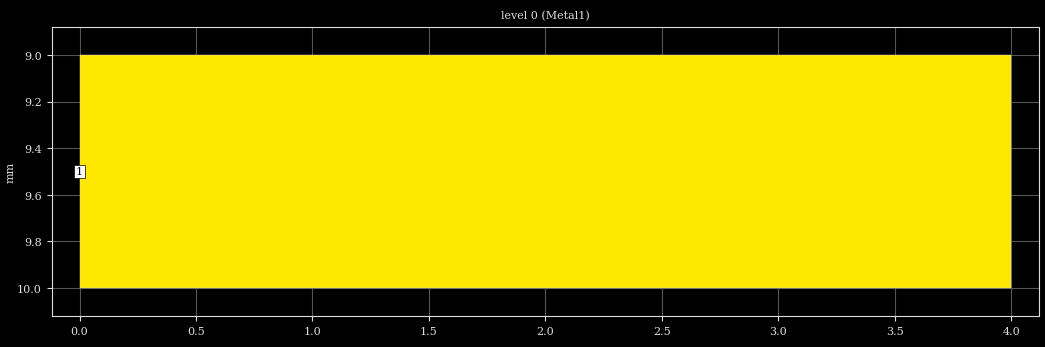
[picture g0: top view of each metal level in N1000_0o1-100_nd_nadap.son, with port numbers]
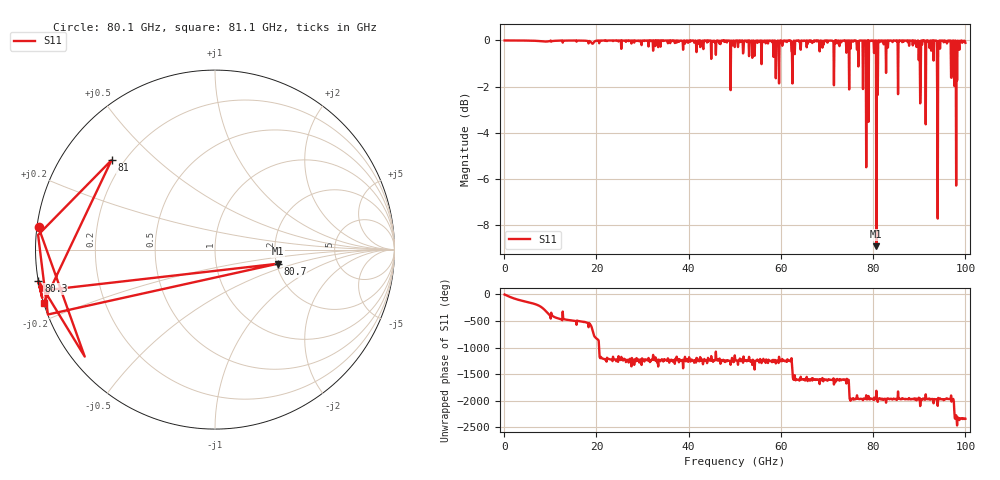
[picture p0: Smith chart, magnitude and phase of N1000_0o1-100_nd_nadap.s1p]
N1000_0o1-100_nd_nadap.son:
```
FTYP SONPROJ 19 ! Sonnet Project File
VER 18.56
HEADER
LIC sonnet10.72.52417
DAT 03/04/2023 10:23:07
BUILT_BY_CREATED xgeom 18.56 02/17/2023 13:10:04
BUILT_BY_SAVED sonnet 18.56
MDATE 03/04/2023 10:23:07
HDATE 03/04/2023 10:23:07
END HEADER
DIM
ANG DEG
CAP PF
CON /OH
FREQ GHZ
IND NH
LNG MM
RES OH
END DIM
CONTROL
VARSWP
OPTIONS 
SPEED 0
CACHE_ABS 2
Q_ACC N
END CONTROL
GEO
TMET "Lossless" 0 SUP 0 0 0 0
BMET "Lossless" 0 SUP 0 0 0 0
MET "Copper" 1 NOR 58000000 0.5 0.1 
BOX 1 30 15 3000 1500 20 0
      5 1 1 0 0 0 0 "Air"
      1 10 1 0 0 0 0 "Substrate"
TECHLAY METAL Metal1 <UNSPECIFIED> -2 -65534 
0 0 0 N 34 1 1 100 100 0 0 0 Y
END
END
LORGN 0 6.35 U 
POR1 BOX
POLY 24 1
3
1 50 0 0 0 0 9.5 
NUM 1
0 5 0 N 24 1 1 100 100 0 0 0 Y
TLAYNAM Metal1 INH
0 9
4 9
4 10
0 10
0 9
END
END GEO
OPT
MAX 100
END OPT
VARSWP
ENABLED Y
FREQ Y AN LSWEEP 0.1 100.0 1000
END
END VARSWP
FILEOUT
TOUCH D Y $BASENAME.s1p IC 15 S MA R 50.00000
FOLDER .
END FILEOUT
```
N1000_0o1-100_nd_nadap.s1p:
! Sonnet Data File
! From: em Version : 18.56
! From Project: N1000_0o1-100_nd_nadap
! Data is De-embedded
! Data File Written: 03/04/2023 11:06:04
!< HDATE 03/04/2023 10:23:07
!< MDATE 03/04/2023 10:23:07
# GHZ S MA R 50.00000
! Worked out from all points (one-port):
!   1000 points, 100 MHz to 100 GHz, reference 50 ohm
!   lowest |S11| = -8.9 dB at 80.7 GHz (marker M1), VSWR 2.12, Z = 101 - j18.3 ohm
!   |S11| at or under -10 dB: nowhere
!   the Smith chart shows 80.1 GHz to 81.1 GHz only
!   S11 on the Smith chart (normalised r, x): 80.1 GHz: 0.00, +0.06; 80.3 GHz: 0.00, -0.09; 80.7 GHz: 2.03, -0.37; 81 GHz: 0.15, +0.36; 81.1 GHz: 0.00, -0.15
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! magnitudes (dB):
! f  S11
! 100 MHz  0.0
! 33.4 GHz  -0.3
! 66.7 GHz  -0.1
! 80.1 GHz  -0.1
! 80.3 GHz  0.0
! 80.7 GHz  -8.9
! 81 GHz  -2.4
! 81.1 GHz  0.0
! 81.6 GHz  0.0
! 93.3 GHz  0.0
! 93.6 GHz  0.0
! 94.6 GHz  0.0
! 97.7 GHz  0.0
! 100 GHz  -0.1
